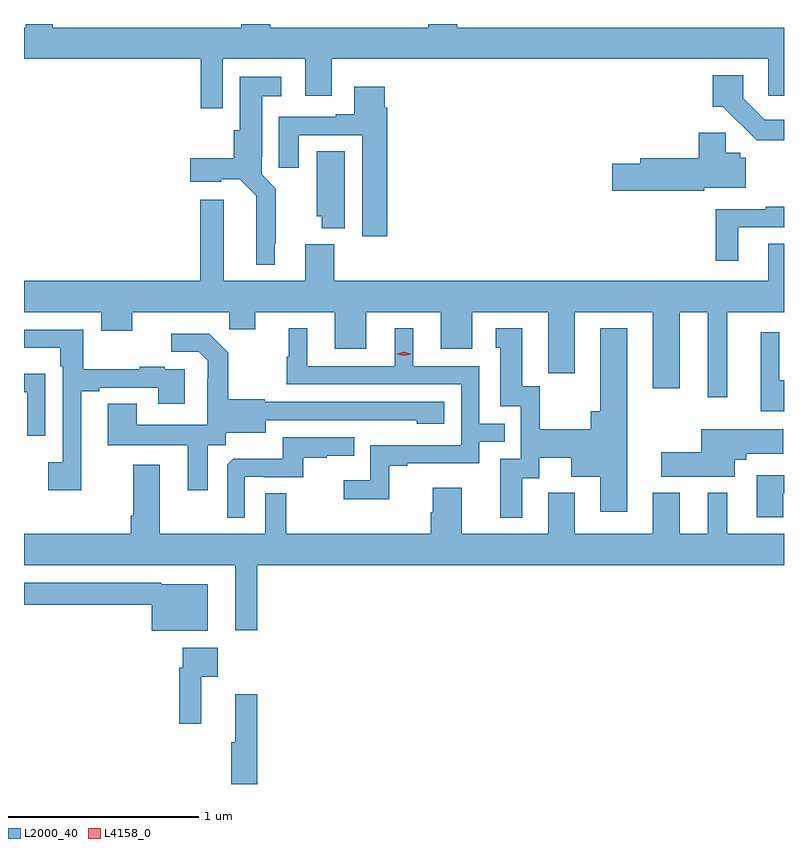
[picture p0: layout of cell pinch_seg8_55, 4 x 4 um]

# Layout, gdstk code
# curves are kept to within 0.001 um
import gdstk
lib = gdstk.Library(unit=1e-6, precision=1e-09)
def P(c, l, *ps):  # polygons
    for p in ps: c.add(gdstk.Polygon(p, *l))
L2000_40 = (2000, 40)
L4158_0 = (4158, 0)

pinch_seg8_55 = lib.new_cell('pinch_seg8_55')
P(pinch_seg8_55, L2000_40, [(927.633,1101.848),(928.067,1101.848),(928.067,1101.654),(928.207,1101.654),(928.207,1101.848),(930.504,1101.848),(930.504,1101.654),(930.587,1101.654),(930.587,1102.012),(928.868,1102.012),(928.868,1102.032),(928.715,1102.032),(928.715,1102.012),(927.883,1102.012),(927.883,1102.032),(927.731,1102.032),(927.731,1102.012),(926.737,1102.012),(926.737,1102.032),(926.597,1102.032),(926.597,1102.012),(926.587,1102.012),(926.587,1101.848),(927.517,1101.848),(927.517,1101.588),(927.633,1101.588)],
  [(930.587,1101.528),(930.486,1101.528),(930.372,1101.642),(930.372,1101.763),(930.212,1101.763),(930.212,1101.596),(930.265,1101.596),(930.443,1101.419),(930.587,1101.419)],
  [(927.907,1100.875),(927.911,1100.875),(927.911,1101.166),(927.837,1101.24),(927.837,1101.334),(927.841,1101.334),(927.841,1101.653),(927.94,1101.653),(927.94,1101.754),(927.722,1101.754),(927.722,1101.474),(927.692,1101.474),(927.692,1101.325),(927.462,1101.325),(927.462,1101.203),(927.624,1101.203),(927.624,1101.215),(927.723,1101.215),(927.81,1101.128),(927.809,1100.765),(927.907,1100.765)],
  [(928.499,1101.59),(928.486,1101.59),(928.486,1101.703),(928.325,1101.703),(928.325,1101.556),(928.229,1101.556),(928.229,1101.543),(927.929,1101.543),(927.929,1101.276),(928.033,1101.276),(928.033,1101.447),(928.367,1101.447),(928.367,1100.916),(928.499,1100.916)],
  [(930.166,1101.17),(930.385,1101.17),(930.385,1101.327),(930.357,1101.327),(930.357,1101.354),(930.281,1101.354),(930.281,1101.459),(930.137,1101.459),(930.137,1101.326),(929.831,1101.326),(929.831,1101.296),(929.682,1101.296),(929.682,1101.154),(930.166,1101.154)],
  [(928.276,1101.362),(928.127,1101.362),(928.127,1101.021),(928.154,1101.021),(928.154,1100.957),(928.276,1100.957)],
  [(927.667,1100.426),(927.805,1100.426),(927.805,1100.516),(928.223,1100.516),(928.223,1100.322),(928.387,1100.322),(928.387,1100.516),(928.781,1100.516),(928.781,1100.322),(928.945,1100.322),(928.945,1100.516),(929.345,1100.516),(929.345,1100.305),(929.347,1100.305),(929.347,1100.193),(929.485,1100.193),(929.485,1100.516),(929.897,1100.516),(929.897,1100.115),(930.037,1100.115),(930.037,1100.516),(930.185,1100.516),(930.185,1100.067),(930.289,1100.067),(930.289,1100.516),(930.587,1100.516),(930.587,1100.875),(930.503,1100.875),(930.503,1100.68),(928.22,1100.68),(928.22,1100.872),(928.067,1100.872),(928.067,1100.68),(927.637,1100.68),(927.637,1101.106),(927.515,1101.106),(927.515,1100.68),(926.587,1100.68),(926.587,1100.516),(926.993,1100.516),(926.993,1100.417),(927.157,1100.417),(927.157,1100.516),(927.667,1100.516)],
  [(930.346,1100.961),(930.587,1100.961),(930.587,1101.07),(930.491,1101.07),(930.491,1101.057),(930.229,1101.057),(930.229,1100.787),(930.346,1100.787)],
  [(928.509,1099.707),(928.603,1099.707),(928.603,1099.719),(928.983,1099.719),(928.983,1099.833),(929.117,1099.833),(929.117,1099.929),(928.983,1099.929),(928.983,1100.232),(928.636,1100.232),(928.636,1100.431),(928.538,1100.431),(928.538,1100.232),(928.078,1100.232),(928.078,1100.431),(927.98,1100.431),(927.98,1100.28),(927.969,1100.28),(927.969,1100.136),(928.887,1100.136),(928.887,1099.815),(928.41,1099.815),(928.41,1099.63),(928.269,1099.63),(928.269,1099.532),(928.509,1099.532)],
  [(929.209,1099.642),(929.299,1099.642),(929.299,1099.748),(929.468,1099.748),(929.468,1099.649),(929.621,1099.649),(929.621,1099.464),(929.761,1099.464),(929.761,1100.431),(929.621,1100.431),(929.621,1099.993),(929.57,1099.993),(929.57,1099.9),(929.302,1099.9),(929.302,1100.125),(929.209,1100.125),(929.209,1100.431),(929.069,1100.431),(929.069,1100.328),(929.093,1100.328),(929.093,1100.019),(929.202,1100.019),(929.202,1099.743),(929.093,1099.743),(929.093,1099.434),(929.209,1099.434)],
  [(926.887,1100.1),(926.983,1100.1),(926.983,1100.118),(927.293,1100.118),(927.293,1100.034),(927.433,1100.034),(927.433,1100.214),(927.329,1100.214),(927.329,1100.227),(927.197,1100.227),(927.197,1100.216),(926.899,1100.216),(926.899,1100.424),(926.587,1100.424),(926.587,1100.327),(926.778,1100.327),(926.778,1100.231),(926.79,1100.231),(926.79,1099.726),(926.715,1099.726),(926.715,1099.578),(926.887,1099.578)],
  [(930.587,1100.158),(930.562,1100.158),(930.562,1100.41),(930.464,1100.41),(930.464,1099.994),(930.587,1099.994)],
  [(927.553,1099.816),(927.648,1099.816),(927.648,1099.88),(927.859,1099.88),(927.859,1099.947),(928.653,1099.946),(928.653,1099.928),(928.798,1099.928),(928.798,1100.043),(927.855,1100.043),(927.855,1100.056),(927.663,1100.056),(927.663,1100.301),(927.563,1100.401),(927.363,1100.401),(927.363,1100.307),(927.507,1100.307),(927.554,1100.26),(927.554,1100.165),(927.552,1100.165),(927.552,1099.924),(927.181,1099.924),(927.181,1100.033),(927.029,1100.033),(927.029,1099.814),(927.449,1099.814),(927.449,1099.578),(927.553,1099.578)],
  [(926.7,1100.191),(926.587,1100.191),(926.587,1100.094),(926.604,1100.094),(926.604,1099.866),(926.7,1099.866)],
  [(930.328,1099.739),(930.388,1099.739),(930.388,1099.771),(930.583,1099.771),(930.583,1099.9),(930.152,1099.9),(930.152,1099.779),(929.94,1099.779),(929.94,1099.649),(930.328,1099.649)],
  [(927.75,1099.65),(927.85,1099.65),(927.85,1099.647),(928.058,1099.647),(928.058,1099.749),(928.181,1099.749),(928.181,1099.76),(928.325,1099.76),(928.325,1099.857),(927.948,1099.857),(927.948,1099.745),(927.689,1099.745),(927.657,1099.713),(927.657,1099.433),(927.75,1099.433)],
  [(927.815,1099.184),(930.587,1099.184),(930.587,1099.348),(930.289,1099.348),(930.289,1099.564),(930.185,1099.564),(930.185,1099.348),(930.037,1099.348),(930.037,1099.564),(929.897,1099.564),(929.897,1099.348),(929.485,1099.348),(929.485,1099.564),(929.345,1099.564),(929.345,1099.348),(928.891,1099.348),(928.891,1099.591),(928.739,1099.591),(928.739,1099.461),(928.727,1099.461),(928.727,1099.348),(927.967,1099.348),(927.967,1099.562),(927.858,1099.562),(927.858,1099.348),(927.301,1099.348),(927.301,1099.711),(927.161,1099.711),(927.161,1099.444),(927.149,1099.444),(927.149,1099.348),(926.587,1099.348),(926.587,1099.184),(927.698,1099.184),(927.698,1098.84),(927.815,1098.84)],
  [(930.583,1099.559),(930.587,1099.559),(930.587,1099.657),(930.443,1099.657),(930.443,1099.437),(930.583,1099.437)],
  [(927.553,1099.084),(927.309,1099.084),(927.309,1099.092),(926.587,1099.092),(926.587,1098.976),(927.26,1098.976),(927.26,1098.839),(927.553,1098.839)],
  [(927.521,1098.596),(927.607,1098.596),(927.607,1098.748),(927.423,1098.748),(927.423,1098.644),(927.403,1098.644),(927.403,1098.348),(927.521,1098.348)],
  [(927.815,1098.505),(927.698,1098.505),(927.698,1098.252),(927.679,1098.252),(927.679,1098.032),(927.815,1098.032)])
P(pinch_seg8_55, L4158_0, [(928.587,1100.286),(928.551,1100.295),(928.551,1100.296),(928.551,1100.296),(928.587,1100.306),(928.623,1100.296),(928.623,1100.296),(928.623,1100.295)])

lib.write_gds('pinch_seg8_55.gds')
